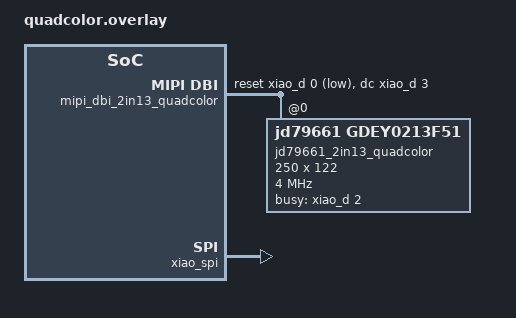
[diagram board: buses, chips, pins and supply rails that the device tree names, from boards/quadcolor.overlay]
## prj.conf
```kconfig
#
# Copyright (c) 2019 Nordic Semiconductor ASA
#
# SPDX-License-Identifier: LicenseRef-Nordic-5-Clause
#
CONFIG_NCS_SAMPLES_DEFAULTS=y

# --- NFC ---
CONFIG_NFC_T4T_NRFXLIB=y

# Tag advertises this as its writable NDEF capacity. 8 KiB fits the ~3.9 KiB
# binary XEPR MIME record, the ~7.9 KiB BW hex-text encoding and each of the
# two ~8.0 KiB halves of the split 4C text encoding (XEPR2A/XEPR2B).
CONFIG_NDEF_FILE_SIZE=8192

CONFIG_NFC_NDEF=y
CONFIG_NFC_NDEF_MSG=y
CONFIG_NFC_NDEF_RECORD=y
CONFIG_NFC_NDEF_URI_REC=y
CONFIG_NFC_NDEF_URI_MSG=y

CONFIG_MPU_ALLOW_FLASH_WRITE=y
CONFIG_FLASH=y
CONFIG_FLASH_PAGE_LAYOUT=y

# --- Logging / console ---
CONFIG_LOG=y
CONFIG_LOG_DEFAULT_LEVEL=3
CONFIG_SERIAL=y
CONFIG_CONSOLE=y
CONFIG_PRINTK=y
CONFIG_LOG_PRINTK=y
CONFIG_LOG_MODE_DEFERRED=y

# --- ePaper display (SSD1680 / JD79661 via MIPI DBI SPI) ---
CONFIG_MIPI_DBI=y
CONFIG_MIPI_DBI_SPI=y
CONFIG_DISPLAY=y

# --- LVGL ---
CONFIG_LVGL=y
CONFIG_LV_Z_MEM_POOL_SIZE=49152
CONFIG_LV_Z_VDB_SIZE=64
CONFIG_LV_COLOR_DEPTH_1=y
# The GDEY0213B74/SSD1680 RAM uses 1 = white, 0 = black, but the ssd16xx
# driver advertises MONO10 (1 = black). Invert the LVGL mono output so
# white pixels end up as 1 in the panel RAM.
CONFIG_LV_Z_COLOR_MONO_HW_INVERSION=y
CONFIG_LV_USE_DRAW_VG_LITE=n
CONFIG_LV_USE_LABEL=y
CONFIG_LV_USE_THEME_DEFAULT=y
CONFIG_LV_USE_CLIB_MALLOC=y
CONFIG_LV_USE_CLIB_STRING=y
CONFIG_LV_USE_CLIB_SPRINTF=y
CONFIG_LV_FONT_MONTSERRAT_12=y
CONFIG_LV_FONT_MONTSERRAT_16=y
CONFIG_LV_FONT_MONTSERRAT_24=y

# --- Memory ---
CONFIG_MAIN_STACK_SIZE=4096
CONFIG_HEAP_MEM_POOL_SIZE=16384

# --- NFC callback stacks (fix: stack overflow when writing an image) ---
# With only NFC_THREAD_CALLBACK the t4t event callbacks run on the system
# workqueue, whose default stack is 1024 B. Writing a ~4 KiB XEPR NDEF
# overflows it. Run the callbacks on a dedicated NFC thread instead, and
# enlarge the shared stacks (ISO-DEP frame handling runs in IRQ context).
CONFIG_NFC_OWN_THREAD=y
CONFIG_NFC_THREAD_STACK_SIZE=4096
CONFIG_SYSTEM_WORKQUEUE_STACK_SIZE=4096
CONFIG_ISR_STACK_SIZE=4096
```

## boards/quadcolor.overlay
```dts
/*
 * XIAO nRF54LM20A + Seeed 2.13" Quadruple Color ePaper
 * (Good Display GDEY0213F51, controller JD79661, 122x250, 4 colors)
 *
 * Select this overlay with:
 *   west build ... -DDTC_OVERLAY_FILE=boards/quadcolor.overlay
 * (it replaces the default BW overlay; both set cs-gpios on &xiao_spi).
 *
 * Wiring (XIAO pins), matching the Seeed ePaper Driver Board:
 *   D8  SCK   (xiao_spi)
 *   D10 MOSI  (xiao_spi)
 *   D1  CS    (active low)
 *   D3  DC    (data/command select)
 *   D0  RST   (active low)
 *   D2  BUSY  (LOW = busy, opposite of the BW panel)
 */

/ {
	chosen {
		zephyr,display = &jd79661_2in13_quadcolor;
	};

	mipi_dbi_2in13_quadcolor {
		compatible = "zephyr,mipi-dbi-spi";
		spi-dev = <&xiao_spi>;
		dc-gpios = <&xiao_d 3 GPIO_ACTIVE_HIGH>;
		reset-gpios = <&xiao_d 0 GPIO_ACTIVE_LOW>;
		#address-cells = <1>;
		#size-cells = <0>;

		jd79661_2in13_quadcolor: jd79661fb@0 {
			compatible = "jd79661,gdey0213f51";
			mipi-max-frequency = <4000000>;
			reg = <0>;
			/* Landscape: 250 gates (x) x 122 sources (y). */
			width = <250>;
			height = <122>;
			busy-gpios = <&xiao_d 2 GPIO_ACTIVE_HIGH>;
		};
	};
};

&xiao_spi {
	status = "okay";
	cs-gpios = <&xiao_d 1 GPIO_ACTIVE_LOW>;
};
```

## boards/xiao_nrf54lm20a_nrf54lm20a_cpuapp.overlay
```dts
/*
 * XIAO nRF54LM20A + Seeed 2.13" ePaper (GDEY0213B74, SSD1680)
 *
 * Wiring (XIAO pins), matching the Seeed ePaper Driver Board:
 *   D8  SCK   (xiao_spi)
 *   D10 MOSI  (xiao_spi)
 *   D1  CS    (active low)
 *   D3  DC    (data/command select)
 *   D0  RST   (active low)
 *   D2  BUSY  (active high)
 */

/ {
	chosen {
		zephyr,display = &ssd16xx_2in13_epaper_gdey0213b74;
	};

	mipi_dbi_2in13_epaper_gdey0213b74 {
		compatible = "zephyr,mipi-dbi-spi";
		spi-dev = <&xiao_spi>;
		dc-gpios = <&xiao_d 3 GPIO_ACTIVE_HIGH>;
		reset-gpios = <&xiao_d 0 GPIO_ACTIVE_LOW>;
		#address-cells = <1>;
		#size-cells = <0>;

		ssd16xx_2in13_epaper_gdey0213b74: ssd16xxfb@0 {
			compatible = "gooddisplay,gdey0213b74", "solomon,ssd1680";
			mipi-max-frequency = <4000000>;
			reg = <0>;
			/* Adjust to an integer multiple of 8, the actual resolution is 250x122. */
			width = <256>;
			height = <122>;
			busy-gpios = <&xiao_d 2 GPIO_ACTIVE_HIGH>;

			tssv = <0x80>;

			/*
			 * Only the full profile is defined on purpose: without
			 * a partial profile the driver never performs a weak
			 * partial refresh, so every screen update is a full
			 * refresh (deterministic, high contrast).
			 */
			full {
				border-waveform = <0x05>;
			};
		};
	};
};

&xiao_spi {
	status = "okay";
	cs-gpios = <&xiao_d 1 GPIO_ACTIVE_LOW>;
};
```

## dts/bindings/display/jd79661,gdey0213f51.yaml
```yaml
# SPDX-License-Identifier: Apache-2.0

description: |
  Good Display GDEY0213F51 (Seeed 2.13" Quadruple Color ePaper) panel with
  an integrated JD79661 controller. 250 gates x 122 visible sources, 2bpp
  RAM (black / white / yellow / red), driven in landscape orientation.

compatible: "jd79661,gdey0213f51"

include: [mipi-dbi-spi-device.yaml, display-controller.yaml]

properties:
  busy-gpios:
    type: phandle-array
    required: true
    description: |
      BUSY pin. The JD79661 asserts BUSY LOW while busy; the pin should
      be configured as active high so a logical read of 0 means busy.
```

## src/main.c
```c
/*
 * Copyright (c) 2018 Nordic Semiconductor ASA
 *
 * SPDX-License-Identifier: LicenseRef-Nordic-5-Clause
 */

/** @file
 * @brief XIAO nRF54LM20A + 2.13" ePaper: NFC writable NDEF + welcome screen.
 *
 * V0.5: NDEF messages can carry a full image (XEPR protocol) which is
 * rendered directly to the ePaper framebuffer, or plain text shown via LVGL.
 * Every screen change ends in exactly one full refresh (no partial refresh,
 * no discarded NFC updates) so text and images always display.
 * V0.6: XEPR frames are repacked into the driver's VTILED layout (the same
 * layout the LVGL mono path emits), so images render correctly.
 * V0.7: panel polarity fixed — this panel's RAM is 1 = white (0 = black),
 * so the image repack sets bits for white pixels and the LVGL path uses
 * CONFIG_LV_Z_COLOR_MONO_HW_INVERSION.
 * V0.8: support for the 2.13" Quadruple Color panel (GDEY0213F51 /
 * JD79661): XEPR format 2 images (2bpp, 8000 bytes) are written to the
 * panel RAM directly via the jd79661 app driver. Selected at build time
 * with -DDTC_OVERLAY_FILE=boards/quadcolor.overlay.
 * V0.9: 4C images can also arrive as two split Text records ("XEPR2A|"/
 * "XEPR2B|", ~8k chars each, one NFC write per half) for writer apps
 * without binary MIME support; the halves are assembled and CRC-checked.
 * V0.10: the last-written image or text is persisted in a dedicated
 * content store (split ZMS entries, metadata written last) and restored
 * on boot, so content survives a reboot even when the NDEF file itself
 * is too large for a single ZMS entry.
 */

#include <zephyr/kernel.h>
#include <zephyr/sys/reboot.h>
#include <zephyr/device.h>
#include <zephyr/drivers/display.h>
#include <errno.h>
#include <stdbool.h>
#include <string.h>
#include <nfc_t4t_lib.h>

#include <nfc/ndef/msg.h>
#include <nfc/t4t/ndef_file.h>

#include <lvgl.h>

#include "ndef_file_m.h"
#include "ndef_parser.h"
#include "xepr.h"

/* Quad-color panel build (boards/quadcolor.overlay): display_image takes
 * the JD79661 2bpp path; otherwise the BW SSD1680 path is used.
 */
#if DT_NODE_HAS_COMPAT(DT_CHOSEN(zephyr_display), jd79661_gdey0213f51)
#define PANEL_IS_JD79661 1
#include "jd79661.h"
#else
#define PANEL_IS_JD79661 0
#endif

#define LOG_LEVEL CONFIG_LOG_DEFAULT_LEVEL
#include <zephyr/logging/log.h>
LOG_MODULE_REGISTER(app);

/** Max text length shown on the ePaper (longer text is truncated). */
#define NDEF_TEXT_MAX_LEN 256

/** Rows of the framebuffer addressable through the display API (must be
 *  a multiple of 8 and is capped by the driver's page model at 120).
 */
#define XEPR_FB_ROWS_WRITABLE 120

static uint8_t ndef_msg_buf[CONFIG_NDEF_FILE_SIZE]; /**< Buffer for NDEF file. */
static size_t ndef_file_len; /**< Length of the NDEF file loaded from flash. */

/* Latest NDEF file received over NFC. The callback always accepts it
 * (latest wins, nothing is ever discarded); the worker copies it out under
 * the same mutex before processing.
 */
static K_MUTEX_DEFINE(flash_buf_lock);
static uint8_t flash_buf[CONFIG_NDEF_FILE_SIZE]; /**< Buffer for flash update. */
static size_t flash_buf_len; /**< Length of the flash buffer. */

static K_SEM_DEFINE(nfc_write_sem, 0, 1);

/* Text extracted from the last written NDEF, handed over to the LVGL thread. */
K_MSGQ_DEFINE(ndef_text_q, NDEF_TEXT_MAX_LEN, 4, 1);

/* Decoded XEPR image, shared between the NFC worker and the display thread.
 * Sized for the largest format (4C: 8000 bytes).
 */
static uint8_t xepr_fb[XEPR_FB_MAX_LEN];
static K_MUTEX_DEFINE(xepr_fb_lock);
/* Format of the image currently in xepr_fb (XEPR_FORMAT_*), written under
 * xepr_fb_lock together with the image.
 */
static uint8_t xepr_fmt = XEPR_FORMAT_BW1;
/* Token handed to the display thread when xepr_fb was updated. */
K_MSGQ_DEFINE(xepr_image_q, sizeof(int), 2, 1);

/* NFC worker thread: writes updated NDEF to flash, parses it and queues
 * the text or image for display (never runs in NFC callback).
 */
#define NFC_WORKER_STACK_SIZE 4096
#define NFC_WORKER_PRIORITY   5

/* XEPR image format this build can display. */
#if PANEL_IS_JD79661
#define PANEL_XEPR_FORMAT XEPR_FORMAT_4C2
#else
#define PANEL_XEPR_FORMAT XEPR_FORMAT_BW1
#endif

static void nfc_worker(void)
{
	static char text[NDEF_TEXT_MAX_LEN];
	/* Snapshot of the NDEF file, copied under flash_buf_lock so a
	 * concurrent NFC update can never corrupt or discard it.
	 */
	static uint8_t file[CONFIG_NDEF_FILE_SIZE];
	size_t file_len;

	while (true) {
		k_sem_take(&nfc_write_sem, K_FOREVER);

		k_mutex_lock(&flash_buf_lock, K_FOREVER);
		file_len = flash_buf_len;
		memcpy(file, flash_buf, file_len);
		k_mutex_unlock(&flash_buf_lock);

		if (ndef_file_update(file, file_len) < 0) {
			/* Payloads above the ZMS sector size (e.g.
			 * the hex text encoding) cannot be made
			 * persistent, but they are still displayed.
			 */
			LOG_WRN("NDEF not stored to flash "
				"(%u bytes, too large?)", file_len);
		} else {
			LOG_INF("NDEF message successfully flashed.");
		}

		/* The file holds a T4T NDEF file: 2-byte NLEN prefix
		 * followed by the NDEF message.
		 */
		if (file_len > NFC_NDEF_FILE_NLEN_FIELD_SIZE) {
			const uint8_t *msg =
				file + NFC_NDEF_FILE_NLEN_FIELD_SIZE;
			size_t msg_len = file_len -
				NFC_NDEF_FILE_NLEN_FIELD_SIZE;

			k_mutex_lock(&xepr_fb_lock, K_FOREVER);
			int img_err = xepr_from_ndef(msg, msg_len, xepr_fb,
						      sizeof(xepr_fb),
						      &xepr_fmt);
			k_mutex_unlock(&xepr_fb_lock);

			/* Reject images encoded for the other panel type
			 * (e.g. a BW frame on the quad-color build): they
			 * would render as noise.
			 */
			if (img_err == 0 && xepr_fmt != PANEL_XEPR_FORMAT) {
				LOG_WRN("XEPR format %u not for this panel",
					xepr_fmt);
				img_err = -EINVAL;
			}

			if (img_err == 0) {
				LOG_INF("XEPR image received "
					"(%u-byte NDEF file)", file_len);

				/* Persist the decoded image so it survives a
				 * reboot (the NDEF file itself may be too
				 * large for one ZMS entry). xepr_fb is only
				 * written by this thread, so reading it here
				 * without the lock is safe.
				 */
				size_t img_len = xepr_fmt == XEPR_FORMAT_4C2
							 ? XEPR4C_IMAGE_LEN
							 : XEPR_IMAGE_LEN;

				if (content_store_save_image(xepr_fb, img_len,
							     xepr_fmt) < 0) {
					LOG_WRN("Image not persisted to flash");
				} else {
					LOG_INF("Image persisted to flash");
				}

				int token = 1;
				if (k_msgq_put(&xepr_image_q, &token,
					       K_NO_WAIT) != 0) {
					LOG_WRN("Image queue full, dropped");
				}
			} else if (img_err == XEPR_ERR_WAIT) {
				/* One half of a split 4C text image arrived;
				 * nothing to display until the other half.
				 */
				LOG_INF("XEPR2 half received, "
					"waiting for the other half");
			} else if (img_err == -EINVAL) {
				LOG_WRN("Invalid XEPR frame "
					"(bad format or CRC)");
			} else {
				int err = ndef_text_parse(
					msg, msg_len, text,
					sizeof(text));

				if (err == 0) {
					LOG_INF("NDEF text: \"%s\"",
						text);

					/* Persist the text so it survives a
					 * reboot.
					 */
					if (content_store_save_text(text) < 0) {
						LOG_WRN("Text not persisted to flash");
					}

					if (k_msgq_put(&ndef_text_q, text,
						       K_NO_WAIT) != 0) {
						LOG_WRN("Text queue full, "
							"dropped");
					}
				} else {
					LOG_WRN("No Text record in "
						"NDEF (err: %d)", err);
				}
			}
		}
	}
}

K_THREAD_DEFINE(nfc_worker_tid, NFC_WORKER_STACK_SIZE, nfc_worker,
		NULL, NULL, NULL, NFC_WORKER_PRIORITY, 0, 0);

static void flash_buffer_prepare(size_t data_length)
{
	size_t file_len = MIN(data_length + NFC_NDEF_FILE_NLEN_FIELD_SIZE,
			      sizeof(flash_buf));

	/* Always accept the latest NDEF (latest wins). The worker copies the
	 * buffer out under the same mutex, so nothing is ever discarded and
	 * the data the worker sees is always consistent.
	 */
	k_mutex_lock(&flash_buf_lock, K_FOREVER);
	flash_buf_len = file_len;
	memcpy(flash_buf, ndef_msg_buf, file_len);
	k_mutex_unlock(&flash_buf_lock);

	k_sem_give(&nfc_write_sem);
}

/**
 * @brief Callback function for handling NFC events.
 */
static void nfc_callback(void *context,
			 nfc_t4t_event_t event,
			 const uint8_t *data,
			 size_t data_length,
			 uint32_t flags)
{
	ARG_UNUSED(context);
	ARG_UNUSED(data);
	ARG_UNUSED(flags);

	switch (event) {
	case NFC_T4T_EVENT_FIELD_ON:
		LOG_INF("NFC field on");
		break;

	case NFC_T4T_EVENT_FIELD_OFF:
		LOG_INF("NFC field off");
		break;

	case NFC_T4T_EVENT_NDEF_READ:
		LOG_INF("NDEF read");
		break;

	case NFC_T4T_EVENT_NDEF_UPDATED:
		if (data_length > 0) {
			LOG_INF("NDEF updated (%zu bytes)", data_length);
			flash_buffer_prepare(data_length);
		}
		break;

	default:
		break;
	}
}

static int nfc_init(void)
{
	/* Initialize storage. */
	if (ndef_file_setup() < 0) {
		LOG_ERR("Cannot setup NDEF file!");
		return -EIO;
	}
	/* Load NDEF message from the flash file. */
	int len = ndef_file_load(ndef_msg_buf, sizeof(ndef_msg_buf));

	if (len < 0) {
		LOG_ERR("Cannot load NDEF file!");
		return -EIO;
	}
	ndef_file_len = len;

	/* Set up NFC */
	int err = nfc_t4t_setup(nfc_callback, NULL);

	if (err < 0) {
		LOG_ERR("Cannot setup t4t library!");
		return err;
	}
	/* Run Read-Write mode for Type 4 Tag platform */
	if (nfc_t4t_ndef_rwpayload_set(ndef_msg_buf,
					sizeof(ndef_msg_buf)) < 0) {
		LOG_ERR("Cannot set payload!");
		return -EIO;
	}
	/* Start sensing NFC field */
	if (nfc_t4t_emulation_start() < 0) {
		LOG_ERR("Cannot start emulation!");
		return -EIO;
	}

	LOG_INF("NFC started");
	return 0;
}

/* Welcome screen: shown until the first NDEF update arrives. */
static lv_obj_t *title_label;
static lv_obj_t *status_label;
static lv_obj_t *footer_label;
static lv_obj_t *ndef_text_label;

static void welcome_screen_init(void)
{
	/* White background, no padding / scrollbar. */
	lv_obj_t *scr = lv_scr_act();
	lv_obj_set_style_bg_color(scr, lv_color_white(), LV_STATE_DEFAULT);
	lv_obj_set_style_bg_opa(scr, LV_OPA_COVER, LV_STATE_DEFAULT);
	lv_obj_set_style_pad_all(scr, 0, LV_STATE_DEFAULT);
	lv_obj_set_scrollbar_mode(scr, LV_SCROLLBAR_MODE_OFF);

	lv_disp_t *disp = lv_disp_get_default();
	lv_coord_t width = lv_disp_get_hor_res(disp);
	lv_coord_t height = lv_disp_get_ver_res(disp);
	LOG_INF("Display: %d x %d", width, height);

	/* Title */
	title_label = lv_label_create(scr);
	lv_label_set_text(title_label, "NFC ePaper Demo");
	lv_obj_set_style_text_color(title_label, lv_color_black(), LV_STATE_DEFAULT);
	lv_obj_set_style_text_font(title_label, &lv_font_montserrat_24, LV_STATE_DEFAULT);
	lv_obj_align(title_label, LV_ALIGN_CENTER, 0, -25);

	/* Status */
	status_label = lv_label_create(scr);
	lv_label_set_text(status_label, "Ready for NFC");
	lv_obj_set_style_text_color(status_label, lv_color_black(), LV_STATE_DEFAULT);
	lv_obj_set_style_text_font(status_label, &lv_font_montserrat_16, LV_STATE_DEFAULT);
	lv_obj_align(status_label, LV_ALIGN_CENTER, 0, 15);

	/* Footer */
	footer_label = lv_label_create(scr);
	lv_label_set_text(footer_label, "Waiting for image...");
	lv_obj_set_style_text_color(footer_label, lv_color_black(), LV_STATE_DEFAULT);
	lv_obj_set_style_text_font(footer_label, &lv_font_montserrat_12, LV_STATE_DEFAULT);
	lv_obj_align(footer_label, LV_ALIGN_BOTTOM_MID, 0, -5);

	/* Label for NDEF text, hidden until the first update arrives. */
	ndef_text_label = lv_label_create(scr);
	lv_obj_set_style_text_color(ndef_text_label, lv_color_black(), LV_STATE_DEFAULT);
	lv_obj_set_style_text_font(ndef_text_label, &lv_font_montserrat_24, LV_STATE_DEFAULT);
	lv_label_set_long_mode(ndef_text_label, LV_LABEL_LONG_WRAP);
	lv_obj_set_width(ndef_text_label, width - 20);
	lv_obj_align(ndef_text_label, LV_ALIGN_CENTER, 0, 0);
	lv_obj_add_flag(ndef_text_label, LV_OBJ_FLAG_HIDDEN);
}

/* Replace the welcome screen with the received NDEF text. */
static void display_ndef_text(const char *text)
{
	lv_obj_add_flag(title_label, LV_OBJ_FLAG_HIDDEN);
	lv_obj_add_flag(status_label, LV_OBJ_FLAG_HIDDEN);
	lv_obj_add_flag(footer_label, LV_OBJ_FLAG_HIDDEN);

	lv_label_set_text(ndef_text_label, text);
	lv_obj_clear_flag(ndef_text_label, LV_OBJ_FLAG_HIDDEN);

	LOG_INF("Displaying NDEF text");
}

static const struct device *display_dev;

/**
 * @brief Render the XEPR framebuffer directly to the panel.
 *
 * Bypasses LVGL (and pauses it while an image is shown). The two panel
 * builds take different paths:
 *
 * - Quad-color (JD79661): the XEPR format 2 payload is the panel RAM
 *   image (2bpp, 8000 bytes) and is displayed as-is; the driver performs
 *   the full init/write/refresh cycle and retries on transient failure.
 * - BW (SSD1680): the XEPR frame is row-major, MSB-first, 1 = white; the
 *   SSD16xx driver expects the layout the LVGL mono path produces (see
 *   lvgl_display_mono.c): VTILED — one byte per column covering 8 rows,
 *   MSB = first row. The panel RAM polarity is 1 = white, 0 = black
 *   (matching the XEPR encoding), so white pixels set the bit — the same
 *   inversion CONFIG_LV_Z_COLOR_MONO_HW_INVERSION applies on the LVGL
 *   path. blanking on/off brackets the write so the driver performs one
 *   full refresh.
 */
#if PANEL_IS_JD79661
static int display_image(void)
{
	static uint8_t render[XEPR4C_IMAGE_LEN];
	int err = -EIO;

	k_mutex_lock(&xepr_fb_lock, K_FOREVER);
	memcpy(render, xepr_fb, sizeof(render));
	k_mutex_unlock(&xepr_fb_lock);

	/* The driver itself retries once on a transient bus failure, so a
	 * failure here is final (logged, image kept for the next update).
	 */
	err = jd79661_display_frame(display_dev, render);

	LOG_INF("Image displayed (%d)", err);
	return err;
}
#else
static int display_image(void)
{
	static uint8_t render[XEPR_IMAGE_LEN];
	static uint8_t vbuf[XEPR_FB_ROW_BYTES * XEPR_FB_ROWS_WRITABLE];
	int err = -EIO;

	k_mutex_lock(&xepr_fb_lock, K_FOREVER);
	memcpy(render, xepr_fb, sizeof(render));
	k_mutex_unlock(&xepr_fb_lock);

	memset(vbuf, 0x00, sizeof(vbuf)); /* all bits clear = all black */
	for (uint32_t row = 0; row < XEPR_FB_ROWS_WRITABLE; row++) {
		for (uint32_t col = 0; col < XEPR_FB_W; col++) {
			const bool white =
				(render[row * XEPR_FB_ROW_BYTES + col / 8] >>
				 (7 - col % 8)) & 1U;

			if (white) { /* white pixel: set its bit (1 = white) */
				vbuf[col + (row / 8) * XEPR_FB_W] |=
					BIT(7 - row % 8);
			}
		}
	}

	const struct display_buffer_descriptor desc = {
		.buf_size = XEPR_FB_ROW_BYTES * XEPR_FB_ROWS_WRITABLE,
		.width = XEPR_FB_W,
		.height = XEPR_FB_ROWS_WRITABLE,
		.pitch = XEPR_FB_W,
	};

	/* Suppress the automatic update during the write, then trigger
	 * one full refresh when unblanking. Retry once on error so a
	 * transient bus failure cannot silently swallow the image.
	 */
	for (int attempt = 0; attempt < 2 && err != 0; attempt++) {
		err = display_blanking_on(display_dev);
		if (err == 0) {
			err = display_write(display_dev, 0, 0, &desc, vbuf);
		}
		/* Unblank regardless: this triggers the full refresh. */
		if (display_blanking_off(display_dev) != 0 && err == 0) {
			err = -EIO;
		}
		if (err != 0) {
			k_msleep(50);
		}
	}

	LOG_INF("Image displayed (%d)", err);
	return err;
}
#endif /* PANEL_IS_JD79661 */

static int display_init(void)
{
	display_dev = DEVICE_DT_GET(DT_CHOSEN(zephyr_display));

	if (!device_is_ready(display_dev)) {
		LOG_ERR("Display device not ready!");
		return -ENODEV;
	}
	LOG_INF("Display device ready.");

	lv_init();

	/* Keep the panel blanked until the first frame has been rendered:
	 * with blanking on, display_write only fills the RAM; exactly one
	 * full refresh then happens when the main loop unblankes after the
	 * first (bracketed) LVGL render. This rules out any uncontrolled
	 * refresh during startup.
	 */
	if (display_blanking_on(display_dev)) {
		LOG_ERR("Failed to turn on display blanking!");
		return -EIO;
	}

	welcome_screen_init();
	return 0;
}

/**
 * @brief   Function for application main entry.
 */
int main(void)
{
	char stored_text[NDEF_TEXT_MAX_LEN];
	bool has_stored_image = false;
	bool has_stored_text = false;
	bool img_mode = false;
	/* Set whenever the LVGL screen changed and the next lv_task_handler()
	 * call must be bracketed with blanking on/off so the change ends in
	 * exactly one full refresh. True initially for the welcome screen.
	 */
	bool text_dirty = true;

	/* Start NFC first: this loads the stored NDEF from flash, so we
	 * know whether to restore the last image or text on the display.
	 */
	if (nfc_init() < 0) {
		goto fail;
	}

	/* Prefer the persistent content store (V0.10+); fall back to the
	 * NDEF-based restore for content written by older firmware.
	 */
	int stored = content_store_load(xepr_fb, sizeof(xepr_fb), &xepr_fmt,
					stored_text, sizeof(stored_text));

	if (stored == CONTENT_STORE_KIND_IMAGE) {
		has_stored_image = xepr_fmt == PANEL_XEPR_FORMAT;
	} else if (stored == CONTENT_STORE_KIND_TEXT) {
		has_stored_text = true;
	} else if (ndef_file_len > NFC_NDEF_FILE_NLEN_FIELD_SIZE) {
		int img_err;

		k_mutex_lock(&xepr_fb_lock, K_FOREVER);
		img_err = xepr_from_ndef(
			ndef_msg_buf + NFC_NDEF_FILE_NLEN_FIELD_SIZE,
			ndef_file_len - NFC_NDEF_FILE_NLEN_FIELD_SIZE,
			xepr_fb, sizeof(xepr_fb), &xepr_fmt);
		has_stored_image = img_err == 0 &&
			xepr_fmt == PANEL_XEPR_FORMAT;
		k_mutex_unlock(&xepr_fb_lock);

		/* img_err == XEPR_ERR_WAIT (a lone split-4C half) restores
		 * neither an image nor text: skip the text fallback for it.
		 */
		if (img_err != 0 && img_err != XEPR_ERR_WAIT) {
			has_stored_text = ndef_text_parse(
				ndef_msg_buf + NFC_NDEF_FILE_NLEN_FIELD_SIZE,
				ndef_file_len - NFC_NDEF_FILE_NLEN_FIELD_SIZE,
				stored_text, sizeof(stored_text)) == 0;
		}
	}

	if (display_init() < 0) {
		goto fail;
	}

	if (has_stored_image) {
		/* Restore the image written by the last NFC update. */
		LOG_INF("Restored XEPR image");
		display_image();
		img_mode = true;
	} else if (has_stored_text) {
		/* Restore the text written by the last NFC update. */
		LOG_INF("Restored NDEF text: \"%s\"", stored_text);
		display_ndef_text(stored_text);
	}

#if PANEL_IS_JD79661
	LOG_INF("Starting NFC ePaper (V0.10: quad-color, persistent)");
#else
	LOG_INF("Starting NFC ePaper (V0.10: BW, persistent)");
#endif

	while (true) {
		char text[NDEF_TEXT_MAX_LEN];
		int token;

		if (k_msgq_get(&xepr_image_q, &token, K_NO_WAIT) == 0) {
			display_image();
			img_mode = true;
		}

		if (k_msgq_get(&ndef_text_q, text, K_NO_WAIT) == 0) {
			display_ndef_text(text);
			if (img_mode) {
				/* LVGL was paused while the image was shown:
				 * force a full redraw of the screen.
				 */
				lv_obj_invalidate(lv_scr_act());
				img_mode = false;
			}
			text_dirty = true;
		}

		/* LVGL objects are not thread-safe: the worker queues the
		 * text, only this thread touches the label. While an image
		 * is shown LVGL is paused so it cannot overwrite the panel.
		 */
		if (!img_mode) {
			if (text_dirty) {
				/* Bracket the whole render with blanking
				 * on/off: the writes only fill the RAM and
				 * unblanking triggers exactly one full
				 * refresh (strong, deterministic).
				 */
				display_blanking_on(display_dev);
				lv_task_handler();
				if (display_blanking_off(display_dev)) {
					LOG_WRN("Full refresh failed");
				}
				text_dirty = false;
			} else {
				lv_task_handler();
			}
		}
		k_sleep(K_MSEC(200));
	}

fail:
	#if CONFIG_REBOOT
		sys_reboot(SYS_REBOOT_COLD);
	#endif /* CONFIG_REBOOT */
	return -EIO;
}
```

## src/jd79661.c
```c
/*
 * Good Display GDEY0213F51 (Seeed 2.13" Quadruple Color ePaper, 122x250)
 * display driver. Controller: JD79661 (JD79661AA).
 *
 * The controller RAM is a single 2bpp plane: 250 gate lines x 128 sources,
 * 4 sources per byte (source 0 in bits [7:6], source 1 in [5:4], ...),
 * 8000 bytes in total, written with command 0x10. Color codes: 0x00 black,
 * 0x01 white, 0x02 yellow, 0x03 red. BUSY is LOW while the controller is
 * busy. After every refresh the controller must be re-initialized, so each
 * update performs the full cycle: hardware reset, register init, power on,
 * RAM write, refresh (~21-25 s), power off, deep sleep.
 *
 * The panel is driven in landscape orientation like the BW GDEY0213B74:
 * the display API exposes a 250x122 MONO01 screen where screen x maps to
 * gate line 0..249 and screen y to source 0..121 (bit set = white, which
 * matches CONFIG_LV_Z_COLOR_MONO_HW_INVERSION). XEPR format 2 images
 * bypass the mono conversion and supply the panel RAM contents directly.
 *
 * Sequences follow the GxEPD2 reference driver (GxEPD2_213c_GDEY0213F51)
 * and the Seeed quadruple-color demo for the ePaper Driver Board.
 */

#include <errno.h>
#include <string.h>

#include <zephyr/device.h>
#include <zephyr/drivers/display.h>
#include <zephyr/drivers/gpio.h>
#include <zephyr/drivers/mipi_dbi.h>
#include <zephyr/kernel.h>

#include "jd79661.h"

#define LOG_LEVEL CONFIG_LOG_DEFAULT_LEVEL
#include <zephyr/logging/log.h>
LOG_MODULE_REGISTER(jd79661);

/* Reset / busy timings. */
#define JD79661_RESET_LOW_MS   40
#define JD79661_RESET_HIGH_MS  50
#define JD79661_BUSY_POLL_MS   10
#define JD79661_BUSY_TIMEOUT_RESET_MS   1000
#define JD79661_BUSY_TIMEOUT_POWER_ON_MS 500
#define JD79661_BUSY_TIMEOUT_REFRESH_MS 26000
#define JD79661_BUSY_TIMEOUT_POWER_OFF_MS 300

/* JD79661 commands. */
#define JD79661_CMD_CMD_SETTING    0x00 /* PSR */
#define JD79661_CMD_PWR_SETTING    0x01
#define JD79661_CMD_PWR_OFF_SETTING 0x03
#define JD79661_CMD_BOOSTER_SOFT_START 0x06
#define JD79661_CMD_DEEP_SLEEP     0x07
#define JD79661_CMD_PWR_ON         0x04
#define JD79661_CMD_PWR_OFF        0x02
#define JD79661_CMD_DISPLAY_REFRESH 0x12
#define JD79661_CMD_RAM_WRITE      0x10
#define JD79661_CMD_VCOM_DATA_INTERVAL 0x50
#define JD79661_CMD_TCON           0x60
#define JD79661_CMD_TRES           0x61
#define JD79661_CMD_GATE_SOURCE_SETTING 0xE7
#define JD79661_CMD_GATE_DRIVING_VOLTAGE 0xE3
#define JD79661_CMD_SOURCE_DRIVING_VOLTAGE_CTRL 0xB4
#define JD79661_CMD_GATE_SOURCE_VOLTAGE_CTRL 0xB5
#define JD79661_CMD_SOURCE_VOLTAGE_CTRL 0xE9
#define JD79661_CMD_PLL           0x30
#define JD79661_CMD_CDI_CMD       0x4D

struct jd79661_config {
	const struct device *mipi_dev;
	struct mipi_dbi_config dbi_config;
	struct gpio_dt_spec busy_gpio;
	uint16_t width;  /* visible width (landscape, <= 250 gates) */
	uint16_t height; /* visible height (landscape, <= 122 sources) */
};

struct jd79661_data {
	bool blanking;
	/* Panel RAM shadow, 250 gate lines x 32 bytes (2bpp). */
	uint8_t ram[JD79661_RAM_BYTES];
};

static const struct display_driver_api jd79661_driver_api;

static int jd79661_cmd(const struct device *dev, uint8_t cmd,
		       const uint8_t *data, size_t len)
{
	const struct jd79661_config *config = dev->config;
	int err = mipi_dbi_command_write(config->mipi_dev, &config->dbi_config,
					 cmd, data, len);

	mipi_dbi_release(config->mipi_dev, &config->dbi_config);
	return err;
}

/* BUSY is LOW while the controller is busy (opposite of the SSD1680). */
static int jd79661_busy_wait(const struct device *dev, uint32_t timeout_ms)
{
	const struct jd79661_config *config = dev->config;
	uint32_t waited = 0;

	while (gpio_pin_get_dt(&config->busy_gpio) == 0) {
		if (waited >= timeout_ms) {
			LOG_ERR("BUSY timeout after %u ms (cmd cycle)", timeout_ms);
			return -ETIMEDOUT;
		}
		k_msleep(JD79661_BUSY_POLL_MS);
		waited += JD79661_BUSY_POLL_MS;
	}
	return 0;
}

/* Register init sequence (GxEPD2_213c_GDEY0213F51 / Seeed demo). */
static int jd79661_init_registers(const struct device *dev)
{
	static const struct {
		uint8_t cmd;
		uint8_t data[8];
		uint8_t len;
	} seq[] = {
		{ 0x4D, { 0x78 }, 1 },
		{ 0x00, { 0x0F, 0x29 }, 2 },      /* PSR */
		{ 0x01, { 0x07, 0x00 }, 2 },      /* PWRR */
		{ 0x03, { 0x10, 0x54, 0x44 }, 3 },/* POFS */
		{ 0x06, { 0x05, 0x00, 0x3F, 0x0A, 0x25, 0x12, 0x1A }, 7 },
		{ 0x50, { 0x37 }, 1 },            /* CDI */
		{ 0x60, { 0x02, 0x02 }, 2 },      /* TCON */
		{ 0x61, { 0x00, 0x80, 0x00, 0xFA }, 4 }, /* TRES: 128 x 250 */
		{ 0xE7, { 0x1C }, 1 },
		{ 0xE3, { 0x22 }, 1 },
		{ 0xB4, { 0xD0 }, 1 },
		{ 0xB5, { 0x03 }, 1 },
		{ 0xE9, { 0x01 }, 1 },
		{ 0x30, { 0x08 }, 1 },            /* PLL */
	};
	int err;

	for (size_t i = 0; i < ARRAY_SIZE(seq); i++) {
		err = jd79661_cmd(dev, seq[i].cmd, seq[i].data, seq[i].len);
		if (err < 0) {
			LOG_ERR("init cmd 0x%02x failed: %d", seq[i].cmd, err);
			return err;
		}
	}

	/* Power on and wait for the controller to become ready. */
	err = jd79661_cmd(dev, JD79661_CMD_PWR_ON, NULL, 0);
	if (err < 0) {
		return err;
	}
	return jd79661_busy_wait(dev, JD79661_BUSY_TIMEOUT_POWER_ON_MS);
}

/*
 * One complete update cycle. The controller must be re-initialized after
 * every refresh and only a hardware reset wakes it from deep sleep, so
 * each cycle starts from a clean reset. Returns 0 on success.
 */
static int jd79661_update_once(const struct device *dev)
{
	const struct jd79661_config *config = dev->config;
	struct jd79661_data *data = dev->data;
	static const uint8_t refresh_cdi = 0x37;
	int err;

	/* Hardware reset (also wakes the controller from deep sleep). */
	err = mipi_dbi_reset(config->mipi_dev, JD79661_RESET_LOW_MS);
	if (err < 0) {
		LOG_ERR("reset failed: %d", err);
		return err;
	}
	k_msleep(JD79661_RESET_HIGH_MS);

	err = jd79661_busy_wait(dev, JD79661_BUSY_TIMEOUT_RESET_MS);
	if (err < 0) {
		return err;
	}

	err = jd79661_init_registers(dev);
	if (err < 0) {
		return err;
	}

	/* Write the full 2bpp RAM image. */
	err = jd79661_cmd(dev, JD79661_CMD_RAM_WRITE, data->ram,
			  JD79661_RAM_BYTES);
	if (err < 0) {
		LOG_ERR("RAM write failed: %d", err);
		return err;
	}

	/* Full refresh (CDI 0x37 = full, 0x97 would be partial). */
	err = jd79661_cmd(dev, JD79661_CMD_VCOM_DATA_INTERVAL, &refresh_cdi, 1);
	if (err < 0) {
		return err;
	}
	err = jd79661_cmd(dev, JD79661_CMD_DISPLAY_REFRESH, NULL, 0);
	if (err < 0) {
		return err;
	}
	err = jd79661_busy_wait(dev, JD79661_BUSY_TIMEOUT_REFRESH_MS);
	if (err < 0) {
		return err;
	}

	/* Power off, then deep sleep: the image stays on the panel and no
	 * DC bias is applied between updates.
	 */
	err = jd79661_cmd(dev, JD79661_CMD_PWR_OFF, NULL, 0);
	if (err < 0) {
		return err;
	}
	err = jd79661_busy_wait(dev, JD79661_BUSY_TIMEOUT_POWER_OFF_MS);
	if (err < 0) {
		return err;
	}

	static const uint8_t deep_sleep_code = 0xA5;

	return jd79661_cmd(dev, JD79661_CMD_DEEP_SLEEP, &deep_sleep_code, 1);
}

/* Full update with one retry: a transient bus failure cannot swallow
 * a screen update.
 */
static int jd79661_update(const struct device *dev)
{
	int err = jd79661_update_once(dev);

	if (err != 0) {
		LOG_WRN("update failed (%d), retrying once", err);
		k_msleep(50);
		err = jd79661_update_once(dev);
	}
	return err;
}

static int jd79661_blanking_on(const struct device *dev)
{
	struct jd79661_data *data = dev->data;

	/* Only fill the RAM shadow; the refresh happens on unblank. */
	data->blanking = true;
	return 0;
}

static int jd79661_blanking_off(const struct device *dev)
{
	struct jd79661_data *data = dev->data;

	if (!data->blanking) {
		return 0;
	}
	data->blanking = false;

	return jd79661_update(dev);
}

/*
 * Convert a row-major 1bpp buffer (MONO01: bit set = white, MSB first,
 * pitch = width, rows of width/8 bytes) into the 2bpp RAM shadow.
 * Screen x maps to gate line (x/32 in the shadow, one gate line per
 * 32-byte row), screen y to source (y/4 in the byte, bits 6-2*(y%4)).
 * Pixels beyond the visible area are clipped (x >= 250 or y >= 122).
 */
static int jd79661_write(const struct device *dev, uint16_t x, uint16_t y,
			 const struct display_buffer_descriptor *desc,
			 const void *buf)
{
	const struct jd79661_config *config = dev->config;
	struct jd79661_data *data = dev->data;
	const uint8_t *src = buf;

	if (x >= config->width || y >= config->height) {
		return -EINVAL;
	}
	if (desc->pitch != desc->width || desc->width % 8 != 0 ||
	    desc->buf_size != (uint32_t)desc->width * desc->height / 8) {
		return -EINVAL;
	}

	size_t row_bytes = desc->width / 8;

	for (uint16_t r = 0; r < desc->height; r++) {
		uint16_t sy = y + r;

		if (sy >= config->height) {
			break;
		}
		uint8_t shift = 6 - 2 * (sy % 4);
		for (uint16_t c = 0; c < row_bytes; c++) {
			uint8_t v = src[(uint32_t)r * row_bytes + c];
			uint16_t sx = x + 8 * c;

			for (uint8_t b = 0; b < 8; b++, sx++) {
				if (sx >= config->width) {
					break;
				}
				uint8_t code = (v >> (7 - b)) & 1U
						       ? JD79661_COLOR_WHITE
						       : JD79661_COLOR_BLACK;
				uint32_t idx = (uint32_t)sx * 32 + sy / 4;

				data->ram[idx] = (data->ram[idx] & ~(3 << shift)) |
						 (code << shift);
			}
		}
	}

	return 0;
}

static int jd79661_get_capabilities(const struct device *dev,
				    struct display_capabilities *caps)
{
	const struct jd79661_config *config = dev->config;

	memset(caps, 0, sizeof(*caps));
	caps->x_resolution = config->width;
	caps->y_resolution = config->height;
	caps->current_pixel_format = PIXEL_FORMAT_MONO01;
	caps->supported_pixel_formats = PIXEL_FORMAT_MONO01;
	/* EPD: the LVGL port brackets multi-chunk renders with blanking. */
	caps->screen_info = SCREEN_INFO_EPD | SCREEN_INFO_MONO_MSB_FIRST;
	return 0;
}

int jd79661_display_frame(const struct device *dev, const uint8_t *frame)
{
	if (dev == NULL || dev->api != &jd79661_driver_api) {
		return -ENODEV;
	}

	struct jd79661_data *data = dev->data;

	memcpy(data->ram, frame, JD79661_RAM_BYTES);
	data->blanking = false;

	return jd79661_update(dev);
}

static int jd79661_init(const struct device *dev)
{
	const struct jd79661_config *config = dev->config;
	struct jd79661_data *data = dev->data;

	if (!device_is_ready(config->mipi_dev)) {
		LOG_ERR("MIPI DBI device not ready");
		return -ENODEV;
	}
	if (!gpio_is_ready_dt(&config->busy_gpio)) {
		LOG_ERR("BUSY gpio not ready");
		return -ENODEV;
	}

	int err = gpio_pin_configure_dt(&config->busy_gpio, GPIO_INPUT);

	if (err < 0) {
		LOG_ERR("BUSY gpio configure failed: %d", err);
		return err;
	}

	/* No panel commands at boot: the panel stays untouched (deep sleep
	 * from the previous update) until the first refresh cycle.
	 */
	data->blanking = true;
	memset(data->ram, 0, sizeof(data->ram));
	return 0;
}

#define JD79661_DEFINE(n)							\
	static const struct jd79661_config jd79661_config_##n = {		\
		.mipi_dev = DEVICE_DT_GET(DT_PARENT(n)),			\
		.dbi_config = {						\
			.mode = MIPI_DBI_MODE_SPI_4WIRE,			\
			.config = MIPI_DBI_SPI_CONFIG_DT(n,		\
				SPI_OP_MODE_MASTER | SPI_WORD_SET(8) |	\
				SPI_HOLD_ON_CS | SPI_LOCK_ON, 0),	\
		},							\
		.busy_gpio = GPIO_DT_SPEC_GET(n, busy_gpios),		\
		.width = DT_PROP(n, width),				\
		.height = DT_PROP(n, height),				\
	};								\
									\
	static struct jd79661_data jd79661_data_##n;			\
									\
	DEVICE_DT_DEFINE(n, jd79661_init, NULL,			\
			 &jd79661_data_##n, &jd79661_config_##n,		\
			 POST_KERNEL, CONFIG_DISPLAY_INIT_PRIORITY,	\
			 &jd79661_driver_api);

DT_FOREACH_STATUS_OKAY(jd79661_gdey0213f51, JD79661_DEFINE)

static const struct display_driver_api jd79661_driver_api = {
	.blanking_on = jd79661_blanking_on,
	.blanking_off = jd79661_blanking_off,
	.write = jd79661_write,
	.get_capabilities = jd79661_get_capabilities,
};
```

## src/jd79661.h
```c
/*
 * Good Display GDEY0213F51 (JD79661) 2.13" quad-color ePaper driver.
 */

#ifndef JD79661_H__
#define JD79661_H__

#include <zephyr/device.h>
#include <stdint.h>

/** Panel RAM image size: 250 gate lines x 32 bytes (128 sources, 2bpp). */
#define JD79661_RAM_BYTES 8000

/** 2bpp color codes as stored in the panel RAM. */
#define JD79661_COLOR_BLACK  0x00
#define JD79661_COLOR_WHITE  0x01
#define JD79661_COLOR_YELLOW 0x02
#define JD79661_COLOR_RED    0x03

/**
 * @brief Display a complete 2bpp panel RAM image (XEPR format 2 payload).
 *
 * Copies @p frame into the driver's RAM shadow and performs a full
 * init/write/refresh/power-off cycle, retrying once on a transient
 * failure. Only valid on a device instantiated by the jd79661 driver.
 *
 * @retval 0        Image displayed.
 * @retval -ENODEV  @p dev is not a JD79661 panel device.
 * @retval -EIO     Refresh failed twice (bus or BUSY timeout).
 */
int jd79661_display_frame(const struct device *dev, const uint8_t *frame);

#endif /* JD79661_H__ */
```

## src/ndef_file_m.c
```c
/*
 * Copyright (c) 2018 Nordic Semiconductor ASA
 *
 * SPDX-License-Identifier: LicenseRef-Nordic-5-Clause
 */

/** @file
 *
 * @ingroup nfc_writable_ndef_msg_example_ndef_file_m ndef_file_m.c
 * @{
 * @ingroup nfc_writable_ndef_msg_example
 * @brief FLASH service for the NFC writable NDEF message example.
 *
 */

#include <zephyr/kernel.h>
#include <soc.h>
#include <zephyr/device.h>
#include <zephyr/fs/nvs.h>
#include <errno.h>
#include <string.h>
#include <nfc/t4t/ndef_file.h>
#include <nfc/ndef/uri_msg.h>
#include <zephyr/storage/flash_map.h>
#include <zephyr/drivers/flash.h>
#if defined(CONFIG_NVS)
#include <zephyr/fs/nvs.h>
#elif defined(CONFIG_ZMS)
#include <zephyr/fs/zms.h>
#endif /* defined(CONFIG_NVS) */
#include "ndef_file_m.h"
#include "xepr.h"

#define FLASH_URL_ADDRESS_ID 1 /**< Address of URL message in FLASH */

/* ---- Persistent content store (ZMS) ------------------------------------
 *
 * Entries: layout marker, content metadata, image chunks. The image is
 * split into chunks because a single ZMS entry is limited to about one
 * sector (4096 bytes on this RRAM) minus ATE overhead.
 */
#define CS_META_ID      2 /**< Content metadata (commit point) */
#define CS_IMG0_ID      3 /**< Image bytes [0, CS_CHUNK_LEN) */
#define CS_IMG1_ID      4 /**< Image bytes [CS_CHUNK_LEN, len) */
#define CS_LAYOUT_ID    5 /**< Storage layout marker */
#define CS_LAYOUT_MAGIC 0x53504331

/* Max ZMS entry size is sector_size - 5 * ate_size (a little over 4000);
 * stay safely below it.
 */
#define CS_CHUNK_LEN    4000
#define CS_TEXT_MAX     256
#define CS_MAGIC        0x53504558

/** Content metadata: written last, its magic + kind select the content. */
struct cs_header {
	uint32_t magic;  /**< CS_MAGIC */
	uint8_t kind;    /**< CONTENT_STORE_KIND_* */
	uint8_t fmt;     /**< XEPR_FORMAT_* (images only) */
	uint16_t len;    /**< Image bytes / text bytes incl. NUL */
	uint32_t crc;    /**< CRC32 of the image (xepr_crc32) */
};

static const uint8_t m_url[] = /**< Default NDEF message: URL "nordicsemi.com". */
	{'n', 'o', 'r', 'd', 'i', 'c', 's', 'e', 'm', 'i', '.', 'c', 'o', 'm'};

/* Flash partition for storage*/
#define FLASH_DEVICE FIXED_PARTITION_DEVICE(storage_partition)
/* Flash block size in bytes */
#define SECTOR_SIZE  (DT_PROP(DT_CHOSEN(zephyr_flash), erase_block_size))
/* 6 of the 36 KiB partition: NDEF file + image chunks + metadata with
 * room for garbage collection.
 */
#define SECTOR_COUNT 6
/* Start address of the filesystem in flash */
#define STORAGE_OFFSET FIXED_PARTITION_OFFSET(storage_partition)

#if defined(CONFIG_NVS)
static struct nvs_fs fs = {
	.sector_size = SECTOR_SIZE,
	.sector_count = SECTOR_COUNT,
	.offset = STORAGE_OFFSET,
};
#elif defined(CONFIG_ZMS)
static struct zms_fs fs = {
	.sector_size = SECTOR_SIZE,
	.sector_count = SECTOR_COUNT,
	.offset = STORAGE_OFFSET,
};
#else
#error "Please select file system."
#endif /* defined(CONFIG_NVS) */

#if defined(CONFIG_ZMS)
/** Erase the whole storage partition (sector by sector, like ZMS GC). */
static int storage_wipe(void)
{
	for (uint32_t s = 0; s < SECTOR_COUNT; s++) {
		int err = flash_erase(FLASH_DEVICE,
				      STORAGE_OFFSET + s * SECTOR_SIZE,
				      SECTOR_SIZE);

		if (err) {
			return err;
		}
	}
	return 0;
}
#endif /* defined(CONFIG_ZMS) */

int ndef_file_setup(void)
{
	int err;

	fs.flash_device = FLASH_DEVICE;
	if (fs.flash_device == NULL) {
		return -ENODEV;
	}

#if defined(CONFIG_NVS)
	err = nvs_mount(&fs);
#elif defined(CONFIG_ZMS)
	err = zms_mount(&fs);

	if (err == 0) {
		uint32_t magic;

		if (zms_read(&fs, CS_LAYOUT_ID, &magic, sizeof(magic)) ==
			    (ssize_t)sizeof(magic) &&
		    magic == CS_LAYOUT_MAGIC) {
			return 0; /* known layout: keep the stored content */
		}
	}

	/* Unknown layout (first boot of this layout, or data written by an
	 * older firmware with a different sector count): erase the
	 * partition once and start over. The stored NDEF/content is lost;
	 * ndef_file_load() recreates the default NDEF message.
	 */
	err = storage_wipe();
	if (err == 0) {
		err = zms_mount(&fs);
	}
	if (err == 0) {
		uint32_t magic = CS_LAYOUT_MAGIC;

		err = zms_write(&fs, CS_LAYOUT_ID, &magic, sizeof(magic));
	}
#endif /* defined(CONFIG_NVS) */

	if (err < 0) {
		printk("Cannot initialize storage!\n");
	}

	return err;
}

int ndef_file_update(uint8_t const *buff, uint32_t size)
{
	/* Update FLASH file with new NDEF message. */
#if defined(CONFIG_NVS)
	return nvs_write(&fs, FLASH_URL_ADDRESS_ID, buff, size);
#elif defined(CONFIG_ZMS)
	return zms_write(&fs, FLASH_URL_ADDRESS_ID, buff, size);
#endif /* defined(CONFIG_NVS) */
}

/** .. include_startingpoint_ndef_file_rst */
int ndef_file_default_message(uint8_t *buff, uint32_t *size)
{
	int err;
	uint32_t ndef_size = nfc_t4t_ndef_file_msg_size_get(*size);

	/* Encode URI message into buffer. */
	err = nfc_ndef_uri_msg_encode(NFC_URI_HTTP_WWW,
				      m_url,
				      sizeof(m_url),
				      nfc_t4t_ndef_file_msg_get(buff),
				      &ndef_size);
	if (err) {
		return err;
	}

	err = nfc_t4t_ndef_file_encode(buff, &ndef_size);
	if (err) {
		return err;
	}

	*size = ndef_size;

	return 0;
}
/** .. include_endpoint_ndef_file_rst */

int ndef_restore_default(uint8_t *buff, uint32_t size)
{
	int err;

	err = ndef_file_default_message(buff, &size);
	if (err < 0) {
		printk("Cannot create default message!\n");
		return err;
	}

	/* Save record with default NDEF message. */
	err = ndef_file_update(buff, size);
	if (err < 0) {
		printk("Cannot flash NDEF message!\n");
	}
	return err;
}

int ndef_file_load(uint8_t *buff, uint32_t size)
{
	int err;

	/* If there is no record with given ID, create default message and store
	 * in FLASH. FLASH_URL_ADDRESS_ID is used to store an address, lets see
	 * if we can read it from flash, since we don't know the size read the
	 * maximum possible
	 */
#if defined(CONFIG_NVS)
	err = nvs_read(&fs, FLASH_URL_ADDRESS_ID, buff, size);
#elif defined(CONFIG_ZMS)
	err = zms_read(&fs, FLASH_URL_ADDRESS_ID, buff, size);
#endif /* defined(CONFIG_NVS) */

	if (err > 0) { /* Item was found, show it */
		printk("Found NDEF file record.\n");
	} else {
		printk("NDEF file record not found, creating default NDEF.\n");
		/* Create default NDEF message. */
		err = ndef_restore_default(buff, size);
	}

	return err;
}

#if defined(CONFIG_ZMS)
int content_store_save_image(const uint8_t *img, size_t len, uint8_t fmt)
{
	struct cs_header hdr = {
		.magic = CS_MAGIC,
		.kind = CONTENT_STORE_KIND_IMAGE,
		.fmt = fmt,
		.len = (uint16_t)len,
		.crc = xepr_crc32(img, len),
	};

	if (img == NULL || len == 0 || len > CS_CHUNK_LEN * 2) {
		return -EINVAL;
	}

	/* Chunks first, metadata last: the metadata entry is the commit
	 * point, so an interrupted save leaves the previous content intact.
	 */
	if (zms_write(&fs, CS_IMG0_ID, img, MIN(len, CS_CHUNK_LEN)) < 0) {
		return -EIO;
	}
	if (len > CS_CHUNK_LEN) {
		if (zms_write(&fs, CS_IMG1_ID, img + CS_CHUNK_LEN,
			      len - CS_CHUNK_LEN) < 0) {
			return -EIO;
		}
	} else {
		zms_delete(&fs, CS_IMG1_ID); /* drop a stale second chunk */
	}

	return zms_write(&fs, CS_META_ID, &hdr, sizeof(hdr)) < 0 ? -EIO : 0;
}

int content_store_save_text(const char *text)
{
	struct cs_header hdr = {
		.magic = CS_MAGIC,
		.kind = CONTENT_STORE_KIND_TEXT,
	};
	uint8_t buf[sizeof(struct cs_header) + CS_TEXT_MAX];

	if (text == NULL) {
		return -EINVAL;
	}
	hdr.len = strnlen(text, CS_TEXT_MAX - 1) + 1; /* incl. NUL */

	/* The image entries are left behind: kind == TEXT means they are
	 * ignored on load (and overwritten by the next image save).
	 */
	memcpy(buf, &hdr, sizeof(hdr));
	memcpy(buf + sizeof(hdr), text, hdr.len);

	return zms_write(&fs, CS_META_ID, buf, sizeof(hdr) + hdr.len) < 0
		       ? -EIO
		       : 0;
}

int content_store_load(uint8_t *img, size_t img_size, uint8_t *fmt,
		       char *text, size_t text_size)
{
	struct cs_header hdr;

	if (zms_read(&fs, CS_META_ID, &hdr, sizeof(hdr)) !=
		    (ssize_t)sizeof(hdr) ||
	    hdr.magic != CS_MAGIC) {
		return -ENOENT;
	}

	if (hdr.kind == CONTENT_STORE_KIND_TEXT) {
		uint8_t buf[sizeof(struct cs_header) + CS_TEXT_MAX];

		if (hdr.len == 0 || hdr.len > CS_TEXT_MAX ||
		    hdr.len > text_size ||
		    zms_read(&fs, CS_META_ID, buf,
			     sizeof(hdr) + hdr.len) !=
			    (ssize_t)(sizeof(hdr) + hdr.len)) {
			return -ENOENT;
		}
		memcpy(text, buf + sizeof(hdr), hdr.len);
		return CONTENT_STORE_KIND_TEXT;
	}

	if (hdr.kind != CONTENT_STORE_KIND_IMAGE || hdr.len == 0 ||
	    hdr.len > img_size || hdr.len > CS_CHUNK_LEN * 2) {
		return -ENOENT;
	}

	/* Read the chunks at their exact stored length, then verify the
	 * CRC over the reassembled image.
	 */
	size_t first = MIN(hdr.len, CS_CHUNK_LEN);

	if (zms_get_data_length(&fs, CS_IMG0_ID) != (ssize_t)first ||
	    zms_read(&fs, CS_IMG0_ID, img, first) != (ssize_t)first) {
		return -ENOENT;
	}
	if (hdr.len > CS_CHUNK_LEN) {
		size_t rest = hdr.len - CS_CHUNK_LEN;

		if (zms_get_data_length(&fs, CS_IMG1_ID) != (ssize_t)rest ||
		    zms_read(&fs, CS_IMG1_ID, img + CS_CHUNK_LEN,
			     rest) != (ssize_t)rest) {
			return -ENOENT;
		}
	}
	if (xepr_crc32(img, hdr.len) != hdr.crc) {
		return -ENOENT;
	}

	*fmt = hdr.fmt;
	return CONTENT_STORE_KIND_IMAGE;
}
#else
int content_store_save_image(const uint8_t *img, size_t len, uint8_t fmt)
{
	ARG_UNUSED(img);
	ARG_UNUSED(len);
	ARG_UNUSED(fmt);
	return -ENOSYS;
}

int content_store_save_text(const char *text)
{
	ARG_UNUSED(text);
	return -ENOSYS;
}

int content_store_load(uint8_t *img, size_t img_size, uint8_t *fmt,
		       char *text, size_t text_size)
{
	ARG_UNUSED(img);
	ARG_UNUSED(img_size);
	ARG_UNUSED(fmt);
	ARG_UNUSED(text);
	ARG_UNUSED(text_size);
	return -ENOSYS;
}
#endif /* defined(CONFIG_ZMS) */

/** @} */
```

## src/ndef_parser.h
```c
/*
 * Minimal NDEF parser: record iterator plus a helper that extracts the text
 * of the first Text record from an NDEF message.
 */

#ifndef NDEF_PARSER_H__
#define NDEF_PARSER_H__

#include <stddef.h>
#include <stdint.h>

/** Type Name Format (TNF) values. */
#define NDEF_TNF_EMPTY        0x00
#define NDEF_TNF_WELL_KNOWN   0x01
#define NDEF_TNF_MEDIA        0x02
#define NDEF_TNF_ABSOLUTE_URI 0x03
#define NDEF_TNF_EXTERNAL     0x04

/** One parsed NDEF record; also holds the iterator state. */
struct ndef_record {
	uint8_t tnf;            /**< Type Name Format */
	const uint8_t *type;    /**< Record type (points into the message) */
	size_t type_len;
	const uint8_t *payload; /**< Record payload (points into the message) */
	size_t payload_len;

	/* Iterator state (internal). */
	const uint8_t *msg;     /**< Start of the NDEF message */
	size_t msg_len;         /**< Length of the NDEF message */
	size_t pos;             /**< Offset of the next record header */
};

/**
 * @brief Start iterating over the records of an NDEF message.
 *
 * @param[in] msg  NDEF message (record stream, no NLEN file prefix).
 * @param[in] len  Length of the NDEF message.
 * @param[out] rec Iterator; holds the first record on success.
 *
 * @retval 0        First record loaded into @p rec.
 * @retval -EINVAL  Malformed NDEF message.
 * @retval -ENOENT  Empty message.
 */
int ndef_record_first(const uint8_t *msg, size_t len, struct ndef_record *rec);

/**
 * @brief Advance the iterator to the next record.
 *
 * @param[inout] rec  Iterator from ndef_record_first().
 *
 * @retval 0        Next record loaded into @p rec.
 * @retval -ENOENT  End of message (or last record had ME set).
 * @retval -EINVAL  Malformed record.
 */
int ndef_record_next(struct ndef_record *rec);

/**
 * @brief Parse an NDEF message and extract the text of the first Text record
 *        (TNF = Well Known, type = "T").
 *
 * @param[in]  ndef_msg   NDEF message (record stream, no NLEN file prefix).
 * @param[in]  len        Length of the NDEF message.
 * @param[out] text       Output buffer for the extracted text (NUL-terminated).
 *                        Truncated if the text is longer than the buffer.
 * @param[in]  text_size  Size of the output buffer.
 *
 * @retval 0         Text extracted.
 * @retval -EINVAL   Malformed NDEF message.
 * @retval -ENOENT   No Text record in the message.
 */
int ndef_text_parse(const uint8_t *ndef_msg, size_t len,
		    char *text, size_t text_size);

#endif /* NDEF_PARSER_H__ */
```
